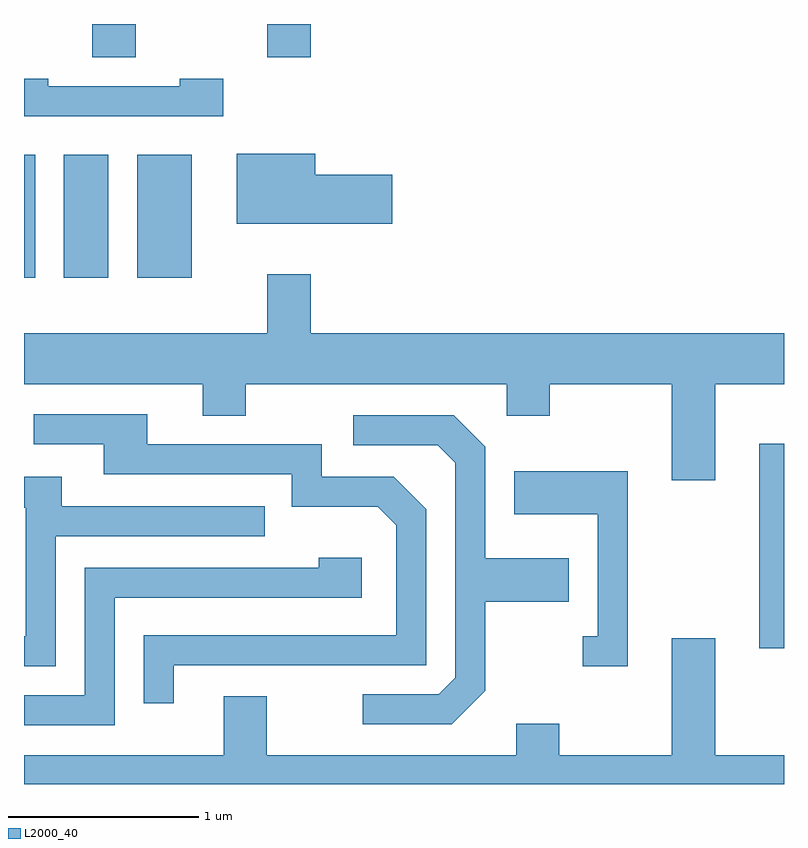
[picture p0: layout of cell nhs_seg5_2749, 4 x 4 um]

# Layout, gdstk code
import gdstk
lib = gdstk.Library(unit=1e-6, precision=1e-09)
def R(c, l, rs):  # rectangles x0, y0, x1, y1
    for r in rs: c.add(gdstk.rectangle(r[:2], r[2:], *l))
def P(c, l, *ps):  # polygons
    for p in ps: c.add(gdstk.Polygon(p, *l))
L2000_40 = (2000, 40)

nhs_seg5_2749 = lib.new_cell('nhs_seg5_2749')
R(nhs_seg5_2749, L2000_40, [(271.481,1408.786,271.611,1409.864), (267.611,1410.736,267.669,1411.384), (267.821,1410.736,268.054,1411.384), (268.206,1410.736,268.494,1411.384), (267.971,1411.896,268.199,1412.072), (268.891,1411.896,269.119,1412.072)])
P(nhs_seg5_2749, L2000_40, [(268.659,1411.784),(268.431,1411.784),(268.431,1411.744),(267.739,1411.744),(267.739,1411.784),(267.611,1411.784),(267.611,1411.586),(268.659,1411.586)],
  [(269.549,1411.279),(269.144,1411.279),(269.144,1411.389),(268.731,1411.389),(268.731,1411.021),(269.549,1411.021)],
  [(271.249,1410.176),(271.611,1410.176),(271.611,1410.444),(269.119,1410.444),(269.119,1410.754),(268.891,1410.754),(268.891,1410.444),(267.611,1410.444),(267.611,1410.176),(268.551,1410.176),(268.551,1410.011),(268.779,1410.011),(268.779,1410.176),(270.151,1410.176),(270.151,1410.011),(270.379,1410.011),(270.379,1410.176),(271.021,1410.176),(271.021,1409.671),(271.249,1409.671)],
  [(268.399,1408.696),(269.729,1408.696),(269.729,1409.517),(269.557,1409.689),(269.179,1409.689),(269.179,1409.859),(268.259,1409.859),(268.259,1410.019),(267.663,1410.019),(267.663,1409.861),(268.031,1409.861),(268.031,1409.701),(269.021,1409.701),(269.021,1409.531),(269.474,1409.531),(269.571,1409.434),(269.571,1408.854),(268.241,1408.854),(268.241,1408.498),(268.399,1408.498)],
  [(270.039,1408.564),(270.039,1409.031),(270.479,1409.031),(270.479,1409.259),(270.039,1409.259),(270.039,1409.847),(269.872,1410.014),(269.343,1410.014),(269.343,1409.856),(269.789,1409.856),(269.881,1409.764),(269.881,1408.632),(269.794,1408.544),(269.393,1408.544),(269.393,1408.386),(269.862,1408.386)],
  [(270.789,1409.719),(270.191,1409.719),(270.191,1409.491),(270.631,1409.491),(270.631,1408.849),(270.553,1408.849),(270.553,1408.691),(270.789,1408.691)],
  [(267.779,1409.376),(268.878,1409.376),(268.878,1409.534),(267.809,1409.534),(267.809,1409.689),(267.611,1409.689),(267.611,1409.526),(267.621,1409.526),(267.621,1408.849),(267.611,1408.849),(267.611,1408.691),(267.779,1408.691)],
  [(268.089,1409.051),(269.389,1409.051),(269.389,1409.264),(269.161,1409.264),(269.161,1409.209),(267.931,1409.209),(267.931,1408.539),(267.611,1408.539),(267.611,1408.381),(268.089,1408.381)],
  [(271.611,1408.224),(271.249,1408.224),(271.249,1408.839),(271.021,1408.839),(271.021,1408.224),(270.429,1408.224),(270.429,1408.389),(270.201,1408.389),(270.201,1408.224),(268.889,1408.224),(268.889,1408.534),(268.661,1408.534),(268.661,1408.224),(267.611,1408.224),(267.611,1408.072),(271.611,1408.072)])

lib.write_gds('nhs_seg5_2749.gds')
